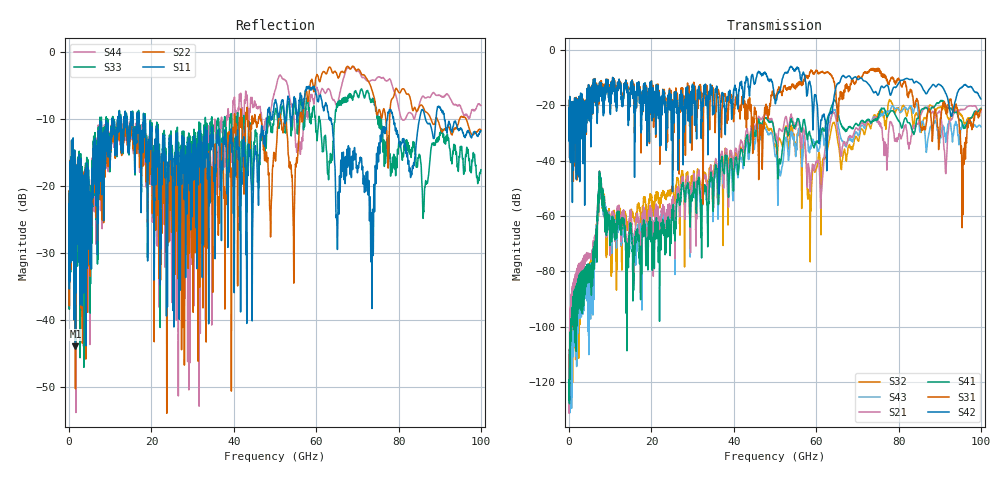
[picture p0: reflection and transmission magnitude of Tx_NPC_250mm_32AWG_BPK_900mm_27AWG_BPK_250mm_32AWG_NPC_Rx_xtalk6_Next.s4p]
! Info: Touchstone file created by Circ.  Input file=Tx_NPC_250mm_32AWG_BPK_900mm_27AWG_BPK_250mm_32AWG_NPC_Rx.circ
# Hz S RI R 50
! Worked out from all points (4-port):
!   10000 points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, 10 MHz to 100 GHz, reference 50 ohm
!   strongest paths, dB at 10 MHz, 25.01 GHz, 50.01 GHz, 75.01 GHz, 100 GHz:
!     S42: -27.5, -19.4, -18.3, -16.3, -17.6
!     S31: -27.5, -18.0, -16.7, -6.9, -21.5
!     S41: -119.2, -59.0, -31.8, -24.3, -21.2
!     S21: -119.4, -54.1, -30.6, -25.5, -22.4
!     S43: -131.1, -55.1, -38.1, -25.2, -27.7
!     S32: -121.5, -49.1, -34.6, -23.2, -21.0
!   lowest |S11| = -44.0 dB at 1.55 GHz (marker M1), VSWR 1.01, Z = 49.6 + j0.522 ohm
!   |S11| at or under -10 dB: start of sweep to 10.49 GHz; 18.47 GHz to 47.97 GHz (29.51 GHz wide, 88.8 % of centre); 63.63 GHz to 77.28 GHz (13.65 GHz wide, 19.4 % of centre) (the widest 3 of 44)
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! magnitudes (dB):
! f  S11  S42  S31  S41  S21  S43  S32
! 10 MHz  -23.2  -27.5  -27.5  -119.2  -119.4  -131.1  -121.5
! 1.55 GHz  -44.0  -30.3  -30.6  -87.1  -80.9  -96.5  -88.9
! 7.65 GHz  -17.5  -16.0  -15.4  -48.2  -48.0  -48.3  -47.6
! 17.2 GHz  -13.4  -15.7  -14.7  -73.3  -67.7  -63.6  -57.1
! 47.55 GHz  -13.8  -8.0  -21.2  -24.6  -23.3  -27.8  -26.2
! 58.33 GHz  -5.2  -11.5  -9.1  -29.4  -43.0  -36.1  -53.6
! 100 GHz  -11.7  -17.6  -21.5  -21.2  -22.4  -27.7  -21.0
